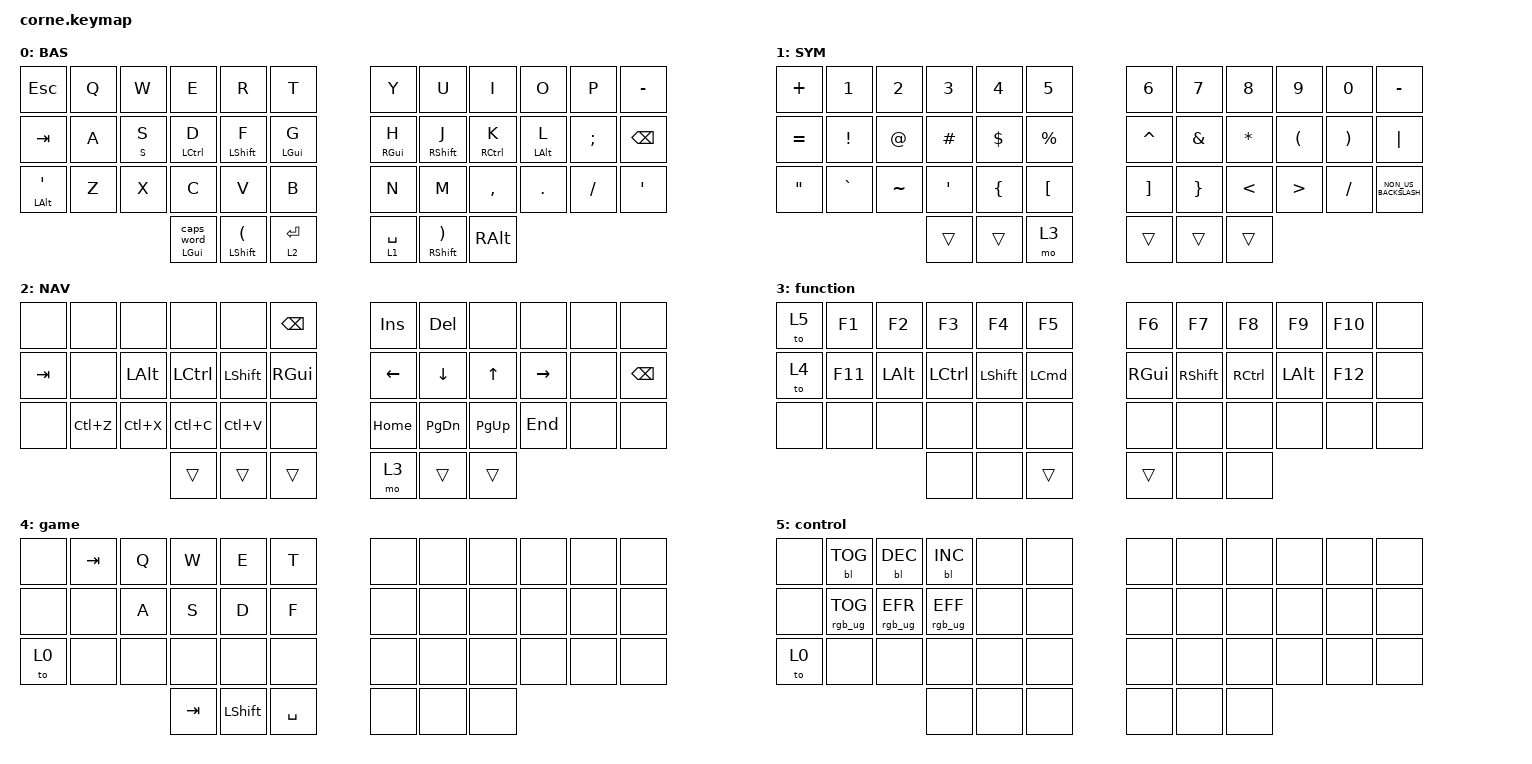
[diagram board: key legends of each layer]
/*
 * Copyright (c) 2020 The ZMK Contributors
 *
 * SPDX-License-Identifier: MIT
 */

#include <dt-bindings/zmk/mouse.h>
#include <behaviors.dtsi>
#include <dt-bindings/zmk/backlight.h>
#include <dt-bindings/zmk/keys.h>
#include <dt-bindings/zmk/rgb.h>

&mt {
    quick-tap-ms = <100>;
    flavor = "tap-preferred";
};

/ {
    behaviors {
        gui_capsword: gui_capsword {
            compatible = "zmk,behavior-hold-tap";
            label = "GUI_CAPSWORD";
            bindings = <&kp>, <&caps_word>;

            #binding-cells = <2>;
            tapping-term-ms = <200>;
        };
    };

    keymap {
        compatible = "zmk,keymap";

        default {
            display-name = "BAS";

            // -----------------------------------------------------------------------------------------
            // |  TAB |  Q  |  W  |  E  |  R  |  T  |   |  Y  |  U   |  I  |  O  |  P  | BKSP |
            // | CTRL |  A  |  S  |  D  |  F  |  G  |   |  H  |  J   |  K  |  L  |  ;  |  '   |
            // | SHFT |  Z  |  X  |  C  |  V  |  B  |   |  N  |  M   |  ,  |  .  |  /  | ESC  |
            //                    | GUI | LWR | SPC |   | ENT | RSE  | ALT |

            bindings = <
&kp ESCAPE    &kp Q  &kp W    &kp E                     &kp R                       &kp T             &kp Y            &kp U                              &kp I        &kp O           &kp P     &kp MINUS
&kp TAB       &kp A  &mt S S  &mt LCTRL D               &mt LEFT_SHIFT F            &mt LEFT_GUI G    &mt RIGHT_GUI H  &mt RIGHT_SHIFT J                  &mt RCTRL K  &mt LEFT_ALT L  &kp SEMI  &kp BACKSPACE
&mt LALT SQT  &kp Z  &kp X    &kp C                     &kp V                       &kp B             &kp N            &kp M                              &kp COMMA    &kp DOT         &kp FSLH  &kp SQT
                              &gui_capsword LEFT_GUI 0  &mt LSHFT LEFT_PARENTHESIS  &lt 2 ENTER       &lt 1 SPACE      &mt RIGHT_SHIFT RIGHT_PARENTHESIS  &kp RALT
            >;
        };

        symbols {
            display-name = "SYM";

            // -----------------------------------------------------------------------------------------
            // |  TAB |  1  |  2  |  3  |  4  |  5  |   |  6  |  7  |  8  |  9  |  0  | BKSP |
            // | BTCLR| BT1 | BT2 | BT3 | BT4 | BT5 |   | LFT | DWN |  UP | RGT |     |      |
            // | SHFT |     |     |     |     |     |   |     |     |     |     |     |      |
            //                    | GUI |     | SPC |   | ENT |     | ALT |

            bindings = <
&kp PLUS           &kp N1           &kp N2       &kp N3    &kp N4          &kp N5              &kp N6             &kp N7           &kp N8         &kp N9                &kp N0                 &kp MINUS
&kp EQUAL          &kp EXCLAMATION  &kp AT_SIGN  &kp HASH  &kp DOLLAR      &kp PERCENT         &kp CARET          &kp AMPERSAND    &kp ASTERISK   &kp LEFT_PARENTHESIS  &kp RIGHT_PARENTHESIS  &kp PIPE
&kp DOUBLE_QUOTES  &kp GRAVE        &kp TILDE    &kp SQT   &kp LEFT_BRACE  &kp LEFT_BRACKET    &kp RIGHT_BRACKET  &kp RIGHT_BRACE  &kp LESS_THAN  &kp GREATER_THAN      &kp SLASH              &kp NON_US_BACKSLASH
                                                 &trans    &trans          &mo 3               &trans             &trans           &trans
            >;
        };

        navigation {
            display-name = "NAV";

            // -----------------------------------------------------------------------------------------
            // |  TAB |  !  |  @  |  #  |  $  |  %  |   |  ^  |  &  |  *  |  (  |  )  | BKSP |
            // | CTRL |     |     |     |     |     |   |  -  |  =  |  [  |  ]  |  \  |  `   |
            // | SHFT |     |     |     |     |     |   |  _  |  +  |  {  |  }  | "|" |  ~   |
            //                    | GUI |     | SPC |   | ENT |     | ALT |

            bindings = <
&none    &none      &none         &none      &none           &kp BACKSPACE    &kp INSERT      &kp DELETE      &none         &none            &none  &none
&kp TAB  &none      &kp LEFT_ALT  &kp LCTRL  &kp LEFT_SHIFT  &kp RIGHT_GUI    &kp LEFT_ARROW  &kp DOWN_ARROW  &kp UP_ARROW  &kp RIGHT_ARROW  &none  &kp BACKSPACE
&none    &kp LC(Z)  &kp LC(X)     &kp LC(C)  &kp LC(V)       &none            &kp HOME        &kp PAGE_DOWN   &kp PAGE_UP   &kp END          &none  &none
                                  &trans     &trans          &trans           &mo 3           &trans          &trans
            >;
        };

        function {
            bindings = <
&to 5  &kp F1   &kp F2        &kp F3     &kp F4     &kp F5      &kp F6    &kp F7      &kp F8     &kp F9        &kp F10  &none
&to 4  &kp F11  &kp LEFT_ALT  &kp LCTRL  &kp LSHFT  &kp LCMD    &kp RGUI  &kp RSHIFT  &kp RCTRL  &kp LEFT_ALT  &kp F12  &none
&none  &none    &none         &none      &none      &none       &none     &none       &none      &none         &none    &none
                              &none      &none      &trans      &trans    &none       &none
            >;
        };

        game {
            bindings = <
&none  &kp TAB  &kp Q  &kp W    &kp E      &kp T        &none  &none  &none  &none  &none  &none
&none  &none    &kp A  &kp S    &kp D      &kp F        &none  &none  &none  &none  &none  &none
&to 0  &none    &none  &none    &none      &none        &none  &none  &none  &none  &none  &none
                       &kp TAB  &kp LSHFT  &kp SPACE    &none  &none  &none
            >;
        };

        control {
            bindings = <
&none  &bl BL_TOG       &bl BL_DEC       &bl BL_INC       &none  &none    &none  &none  &none  &none  &none  &none
&none  &rgb_ug RGB_TOG  &rgb_ug RGB_EFR  &rgb_ug RGB_EFF  &none  &none    &none  &none  &none  &none  &none  &none
&to 0  &none            &none            &none            &none  &none    &none  &none  &none  &none  &none  &none
                                         &none            &none  &none    &none  &none  &none
            >;
        };
    };
};
